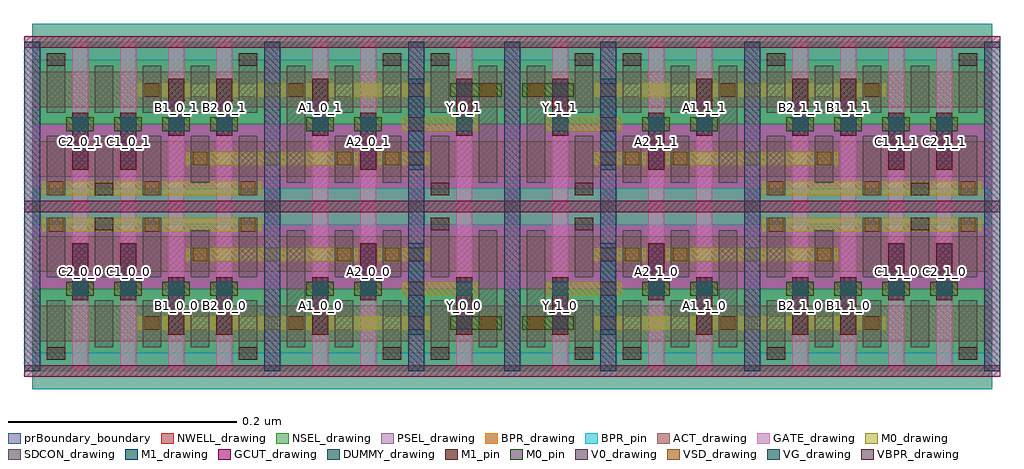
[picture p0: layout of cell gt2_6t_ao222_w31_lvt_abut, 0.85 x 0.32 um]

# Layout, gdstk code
from math import pi, radians
import gdstk
lib = gdstk.Library(unit=1e-6, precision=5e-10)
def R(c, l, rs):  # rectangles x0, y0, x1, y1
    for r in rs: c.add(gdstk.rectangle(r[:2], r[2:], *l))
def A(c, l, x, y, w, h, nx, ny, dx, dy):  # array of equal rectangles
    R(c, l, [(x+i*dx, y+j*dy, x+i*dx+w, y+j*dy+h) for i in range(nx) for j in range(ny)])
NWELL_drawing = (1, 0)
ACT_drawing = (2, 0)
GATE_drawing = (3, 0)
DUMMY_drawing = (4, 0)
GCUT_drawing = (5, 0)
NSEL_drawing = (6, 0)
PSEL_drawing = (7, 0)
BPR_drawing = (8, 0)
BPR_pin = (8, 251)
VBPR_drawing = (9, 0)
SDCON_drawing = (10, 0)
VSD_drawing = (11, 0)
VG_drawing = (12, 0)
M0_drawing = (20, 0)
M0_pin = (20, 251)
V0_drawing = (22, 0)
M1_drawing = (25, 0)
M1_pin = (25, 251)
prBoundary_boundary = (235, 250)

gt2_6t_ao222_w31_lvt = lib.new_cell('gt2_6t_ao222_w31_lvt')
R(gt2_6t_ao222_w31_lvt, NWELL_drawing, [(0,0.072,0.42,0.144)])
R(gt2_6t_ao222_w31_lvt, ACT_drawing, [(0,0.026,0.42,0.057), (0,0.087,0.42,0.118)])
A(gt2_6t_ao222_w31_lvt, GATE_drawing, -0.007, 0, 0.014, 0.144, 11, 1, 0.042, 0)
R(gt2_6t_ao222_w31_lvt, DUMMY_drawing, [(-0.007,0,0.007,0.072), (0.203,0,0.217,0.072), (0.329,0,0.343,0.072), (0.413,0,0.427,0.072), (-0.007,0.072,0.007,0.144), (0.203,0.072,0.217,0.144), (0.329,0.072,0.343,0.144), (0.413,0.072,0.427,0.144)])
R(gt2_6t_ao222_w31_lvt, GCUT_drawing, [(-0.007,-0.005,0.427,0.005), (-0.007,0.139,0.427,0.149)])
R(gt2_6t_ao222_w31_lvt, NSEL_drawing, [(0,0,0.42,0.072)])
R(gt2_6t_ao222_w31_lvt, PSEL_drawing, [(0,0.072,0.42,0.144)])
R(gt2_6t_ao222_w31_lvt, BPR_drawing, [(0,-0.016,0.42,0.016), (0,0.128,0.42,0.16)])
R(gt2_6t_ao222_w31_lvt, BPR_pin, [(0,-0.016,0.42,0.016), (0,0.128,0.42,0.16)])
R(gt2_6t_ao222_w31_lvt, VBPR_drawing, [(0.013,0.01,0.029,0.021), (0.181,0.01,0.197,0.021), (0.307,0.01,0.323,0.021), (0.349,0.01,0.365,0.021), (0.055,0.123,0.071,0.134), (0.349,0.123,0.365,0.134)])
A(gt2_6t_ao222_w31_lvt, SDCON_drawing, 0.055, 0.021, 0.016, 0.041, 3, 1, 0.042, 0)
A(gt2_6t_ao222_w31_lvt, SDCON_drawing, 0.013, 0.082, 0.016, 0.052, 3, 1, 0.042, 0)
R(gt2_6t_ao222_w31_lvt, SDCON_drawing, [(0.013,0.01,0.029,0.062), (0.181,0.01,0.197,0.062), (0.307,0.01,0.323,0.062), (0.349,0.01,0.365,0.062), (0.223,0.021,0.239,0.123), (0.265,0.021,0.281,0.062), (0.391,0.021,0.407,0.123), (0.139,0.082,0.155,0.123), (0.181,0.082,0.197,0.134), (0.265,0.082,0.281,0.123), (0.307,0.082,0.323,0.123), (0.349,0.082,0.365,0.134)])
A(gt2_6t_ao222_w31_lvt, VSD_drawing, 0.0145, 0.122, 0.013, 0.012, 3, 1, 0.084, 0)
R(gt2_6t_ao222_w31_lvt, VSD_drawing, [(0.0985,0.036,0.1115,0.048), (0.2245,0.036,0.2375,0.048), (0.3925,0.036,0.4055,0.048), (0.1405,0.096,0.1535,0.108), (0.2665,0.096,0.2795,0.108), (0.3085,0.096,0.3215,0.108)])
A(gt2_6t_ao222_w31_lvt, VG_drawing, 0.035, 0.066, 0.014, 0.012, 4, 1, 0.042, 0)
R(gt2_6t_ao222_w31_lvt, VG_drawing, [(0.245,0.066,0.259,0.078), (0.287,0.066,0.301,0.078), (0.371,0.066,0.385,0.078)])
A(gt2_6t_ao222_w31_lvt, M0_drawing, 0.282, 0.066, 0.024, 0.012, 3, 1, 0.042, 0)
A(gt2_6t_ao222_w31_lvt, M0_drawing, 0.009, 0.122, 0.024, 0.012, 3, 1, 0.084, 0)
R(gt2_6t_ao222_w31_lvt, M0_drawing, [(0.093,0.036,0.117,0.048), (0.093,0.036,0.348,0.048), (0.219,0.036,0.243,0.048), (0.324,0.036,0.348,0.048), (0.366,0.036,0.39,0.048), (0.366,0.036,0.411,0.048), (0.387,0.036,0.411,0.048), (0.03,0.066,0.054,0.078), (0.03,0.066,0.054,0.078), (0.072,0.066,0.096,0.078), (0.072,0.066,0.096,0.078), (0.114,0.066,0.138,0.078), (0.114,0.066,0.138,0.078), (0.156,0.066,0.18,0.078), (0.156,0.066,0.18,0.078), (0.24,0.066,0.264,0.078), (0.24,0.066,0.264,0.078), (0.282,0.066,0.306,0.078), (0.324,0.066,0.39,0.078), (0.135,0.096,0.159,0.108), (0.135,0.096,0.285,0.108), (0.261,0.096,0.285,0.108), (0.303,0.096,0.327,0.108), (0.303,0.096,0.348,0.108), (0.324,0.096,0.348,0.108), (0.009,0.122,0.201,0.134)])
R(gt2_6t_ao222_w31_lvt, M0_pin, [(0.366,0.036,0.39,0.048), (0.366,0.036,0.411,0.048), (0.387,0.036,0.411,0.048), (0.03,0.066,0.054,0.078), (0.03,0.066,0.054,0.078), (0.072,0.066,0.096,0.078), (0.072,0.066,0.096,0.078), (0.114,0.066,0.138,0.078), (0.114,0.066,0.138,0.078), (0.156,0.066,0.18,0.078), (0.156,0.066,0.18,0.078), (0.24,0.066,0.264,0.078), (0.24,0.066,0.264,0.078), (0.282,0.066,0.306,0.078), (0.282,0.066,0.306,0.078)])
A(gt2_6t_ao222_w31_lvt, V0_drawing, 0.035, 0.066, 0.014, 0.012, 4, 1, 0.042, 0)
A(gt2_6t_ao222_w31_lvt, V0_drawing, 0.245, 0.066, 0.014, 0.012, 3, 1, 0.042, 0)
R(gt2_6t_ao222_w31_lvt, V0_drawing, [(0.329,0.036,0.343,0.048), (0.371,0.036,0.385,0.048), (0.329,0.096,0.343,0.108)])
A(gt2_6t_ao222_w31_lvt, M1_drawing, 0.035, 0.062, 0.014, 0.02, 4, 1, 0.042, 0)
A(gt2_6t_ao222_w31_lvt, M1_drawing, 0.245, 0.062, 0.014, 0.02, 3, 1, 0.042, 0)
R(gt2_6t_ao222_w31_lvt, M1_drawing, [(0.119,0.032,0.133,0.082), (0.161,0.032,0.175,0.082), (0.245,0.032,0.259,0.082), (0.329,0.032,0.343,0.052), (0.329,0.032,0.343,0.112), (0.371,0.032,0.385,0.052), (0.371,0.032,0.385,0.082), (0.035,0.062,0.049,0.112), (0.077,0.062,0.091,0.112), (0.287,0.062,0.301,0.112), (0.329,0.092,0.343,0.112)])
A(gt2_6t_ao222_w31_lvt, M1_pin, 0.035, 0.062, 0.014, 0.02, 4, 1, 0.042, 0)
R(gt2_6t_ao222_w31_lvt, M1_pin, [(0.119,0.032,0.133,0.082), (0.161,0.032,0.175,0.082), (0.245,0.032,0.259,0.082), (0.371,0.032,0.385,0.052), (0.371,0.032,0.385,0.082), (0.035,0.062,0.049,0.112), (0.077,0.062,0.091,0.112), (0.245,0.062,0.259,0.082), (0.287,0.062,0.301,0.082), (0.287,0.062,0.301,0.112)])
R(gt2_6t_ao222_w31_lvt, prBoundary_boundary, [(0,0,0.42,0.144)])
gt2_6t_ao222_w31_lvt.add(gdstk.Label('vss', (0.21,0), layer=8, texttype=251))
gt2_6t_ao222_w31_lvt.add(gdstk.Label('vdd', (0.21,0.144), layer=8, texttype=251))
gt2_6t_ao222_w31_lvt.add(gdstk.Label('Y', (0.399,0.042), layer=20, texttype=251))
gt2_6t_ao222_w31_lvt.add(gdstk.Label('C2', (0.042,0.072), layer=20, texttype=251))
gt2_6t_ao222_w31_lvt.add(gdstk.Label('C1', (0.084,0.072), layer=20, texttype=251))
gt2_6t_ao222_w31_lvt.add(gdstk.Label('B1', (0.126,0.072), layer=20, texttype=251))
gt2_6t_ao222_w31_lvt.add(gdstk.Label('B2', (0.168,0.072), layer=20, texttype=251))
gt2_6t_ao222_w31_lvt.add(gdstk.Label('A1', (0.252,0.072), layer=20, texttype=251))
gt2_6t_ao222_w31_lvt.add(gdstk.Label('A2', (0.294,0.072), layer=20, texttype=251))
gt2_6t_ao222_w31_lvt.add(gdstk.Label('Y', (0.3885,0.042), layer=20, texttype=251))
gt2_6t_ao222_w31_lvt.add(gdstk.Label('Y', (0.378,0.042), layer=20, texttype=251))
gt2_6t_ao222_w31_lvt.add(gdstk.Label('C2', (0.042,0.072), layer=20, texttype=251))
gt2_6t_ao222_w31_lvt.add(gdstk.Label('C1', (0.084,0.072), layer=20, texttype=251))
gt2_6t_ao222_w31_lvt.add(gdstk.Label('B1', (0.126,0.072), layer=20, texttype=251))
gt2_6t_ao222_w31_lvt.add(gdstk.Label('B2', (0.168,0.072), layer=20, texttype=251))
gt2_6t_ao222_w31_lvt.add(gdstk.Label('A1', (0.252,0.072), layer=20, texttype=251))
gt2_6t_ao222_w31_lvt.add(gdstk.Label('A2', (0.294,0.072), layer=20, texttype=251))
gt2_6t_ao222_w31_lvt.add(gdstk.Label('Y', (0.378,0.042), layer=25, texttype=251))
gt2_6t_ao222_w31_lvt.add(gdstk.Label('C2', (0.042,0.072), layer=25, texttype=251))
gt2_6t_ao222_w31_lvt.add(gdstk.Label('C1', (0.084,0.072), layer=25, texttype=251))
gt2_6t_ao222_w31_lvt.add(gdstk.Label('B1', (0.126,0.072), layer=25, texttype=251))
gt2_6t_ao222_w31_lvt.add(gdstk.Label('B2', (0.168,0.072), layer=25, texttype=251))
gt2_6t_ao222_w31_lvt.add(gdstk.Label('A1', (0.252,0.072), layer=25, texttype=251))
gt2_6t_ao222_w31_lvt.add(gdstk.Label('A2', (0.294,0.072), layer=25, texttype=251))
gt2_6t_ao222_w31_lvt.add(gdstk.Label('B1', (0.126,0.057), layer=25, texttype=251))
gt2_6t_ao222_w31_lvt.add(gdstk.Label('B2', (0.168,0.057), layer=25, texttype=251))
gt2_6t_ao222_w31_lvt.add(gdstk.Label('A1', (0.252,0.057), layer=25, texttype=251))
gt2_6t_ao222_w31_lvt.add(gdstk.Label('Y', (0.378,0.057), layer=25, texttype=251))
gt2_6t_ao222_w31_lvt.add(gdstk.Label('C2', (0.042,0.087), layer=25, texttype=251))
gt2_6t_ao222_w31_lvt.add(gdstk.Label('C1', (0.084,0.087), layer=25, texttype=251))
gt2_6t_ao222_w31_lvt.add(gdstk.Label('A2', (0.294,0.087), layer=25, texttype=251))

gt2_6t_ao222_w31_lvt_abu = lib.new_cell('gt2_6t_ao222_w31_lvt_abut')
gt2_6t_ao222_w31_lvt_abu.add(gdstk.Reference(gt2_6t_ao222_w31_lvt, (0,0)))
gt2_6t_ao222_w31_lvt_abu.add(gdstk.Reference(gt2_6t_ao222_w31_lvt, (0.84,0), rotation=pi, x_reflection=True))
gt2_6t_ao222_w31_lvt_abu.add(gdstk.Reference(gt2_6t_ao222_w31_lvt, (0,0.288), x_reflection=True))
gt2_6t_ao222_w31_lvt_abu.add(gdstk.Reference(gt2_6t_ao222_w31_lvt, (0.84,0.288), rotation=pi))
gt2_6t_ao222_w31_lvt_abu.add(gdstk.Label('A1_0_0', (0.252,0.057), layer=25, texttype=251))
gt2_6t_ao222_w31_lvt_abu.add(gdstk.Label('A2_0_0', (0.294,0.087), layer=25, texttype=251))
gt2_6t_ao222_w31_lvt_abu.add(gdstk.Label('B1_0_0', (0.126,0.057), layer=25, texttype=251))
gt2_6t_ao222_w31_lvt_abu.add(gdstk.Label('B2_0_0', (0.168,0.057), layer=25, texttype=251))
gt2_6t_ao222_w31_lvt_abu.add(gdstk.Label('C1_0_0', (0.084,0.087), layer=25, texttype=251))
gt2_6t_ao222_w31_lvt_abu.add(gdstk.Label('C2_0_0', (0.042,0.087), layer=25, texttype=251))
gt2_6t_ao222_w31_lvt_abu.add(gdstk.Label('Y_0_0', (0.378,0.057), layer=25, texttype=251))
gt2_6t_ao222_w31_lvt_abu.add(gdstk.Label('A1_1_0', (0.588,0.057), layer=25, texttype=251))
gt2_6t_ao222_w31_lvt_abu.add(gdstk.Label('A2_1_0', (0.546,0.087), layer=25, texttype=251))
gt2_6t_ao222_w31_lvt_abu.add(gdstk.Label('B1_1_0', (0.714,0.057), layer=25, texttype=251))
gt2_6t_ao222_w31_lvt_abu.add(gdstk.Label('B2_1_0', (0.672,0.057), layer=25, texttype=251))
gt2_6t_ao222_w31_lvt_abu.add(gdstk.Label('C1_1_0', (0.756,0.087), layer=25, texttype=251))
gt2_6t_ao222_w31_lvt_abu.add(gdstk.Label('C2_1_0', (0.798,0.087), layer=25, texttype=251))
gt2_6t_ao222_w31_lvt_abu.add(gdstk.Label('Y_1_0', (0.462,0.057), layer=25, texttype=251))
gt2_6t_ao222_w31_lvt_abu.add(gdstk.Label('A1_0_1', (0.252,0.231), layer=25, texttype=251))
gt2_6t_ao222_w31_lvt_abu.add(gdstk.Label('A2_0_1', (0.294,0.201), layer=25, texttype=251))
gt2_6t_ao222_w31_lvt_abu.add(gdstk.Label('B1_0_1', (0.126,0.231), layer=25, texttype=251))
gt2_6t_ao222_w31_lvt_abu.add(gdstk.Label('B2_0_1', (0.168,0.231), layer=25, texttype=251))
gt2_6t_ao222_w31_lvt_abu.add(gdstk.Label('C1_0_1', (0.084,0.201), layer=25, texttype=251))
gt2_6t_ao222_w31_lvt_abu.add(gdstk.Label('C2_0_1', (0.042,0.201), layer=25, texttype=251))
gt2_6t_ao222_w31_lvt_abu.add(gdstk.Label('Y_0_1', (0.378,0.231), layer=25, texttype=251))
gt2_6t_ao222_w31_lvt_abu.add(gdstk.Label('A1_1_1', (0.588,0.231), layer=25, texttype=251))
gt2_6t_ao222_w31_lvt_abu.add(gdstk.Label('A2_1_1', (0.546,0.201), layer=25, texttype=251))
gt2_6t_ao222_w31_lvt_abu.add(gdstk.Label('B1_1_1', (0.714,0.231), layer=25, texttype=251))
gt2_6t_ao222_w31_lvt_abu.add(gdstk.Label('B2_1_1', (0.672,0.231), layer=25, texttype=251))
gt2_6t_ao222_w31_lvt_abu.add(gdstk.Label('C1_1_1', (0.756,0.201), layer=25, texttype=251))
gt2_6t_ao222_w31_lvt_abu.add(gdstk.Label('C2_1_1', (0.798,0.201), layer=25, texttype=251))
gt2_6t_ao222_w31_lvt_abu.add(gdstk.Label('Y_1_1', (0.462,0.231), layer=25, texttype=251))

lib.write_gds('gt2_6t_ao222_w31_lvt_abut.gds')
